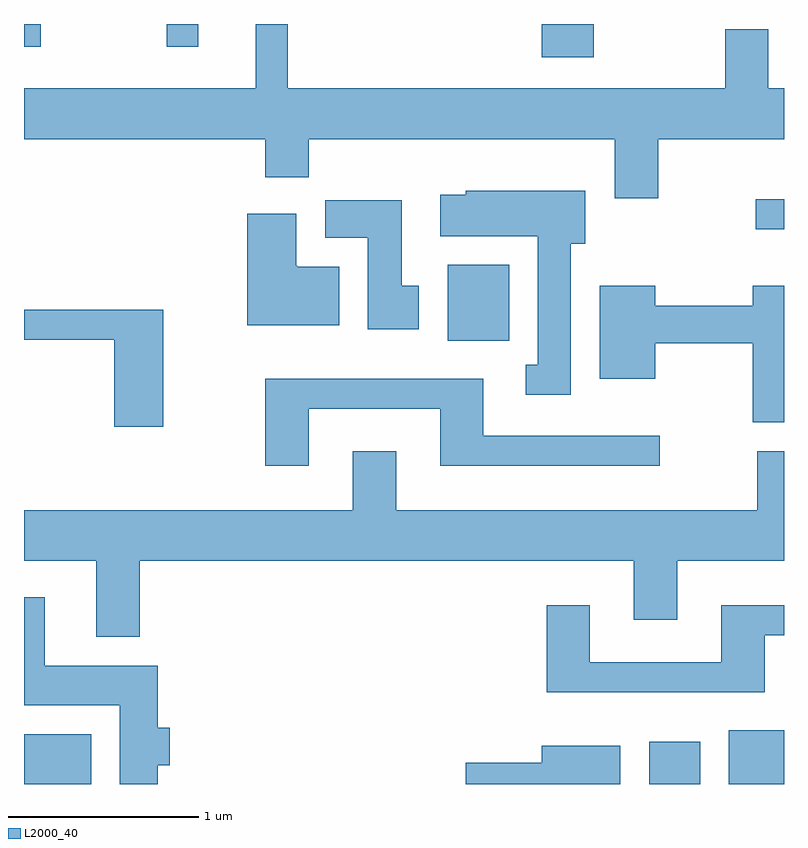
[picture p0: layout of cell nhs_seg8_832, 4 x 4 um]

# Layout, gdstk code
import gdstk
lib = gdstk.Library(unit=1e-6, precision=1e-09)
def R(c, l, rs):  # rectangles x0, y0, x1, y1
    for r in rs: c.add(gdstk.rectangle(r[:2], r[2:], *l))
def P(c, l, *ps):  # polygons
    for p in ps: c.add(gdstk.Polygon(p, *l))
L2000_40 = (2000, 40)

nhs_seg8_832 = lib.new_cell('nhs_seg8_832')
R(nhs_seg8_832, L2000_40, [(209.611,1846.342,209.964,1846.604), (212.901,1846.342,213.169,1846.564), (213.321,1846.342,213.611,1846.624), (211.841,1848.676,212.164,1849.074), (213.463,1849.261,213.611,1849.419), (212.336,1850.166,212.609,1850.342), (209.611,1850.223,209.699,1850.342), (210.361,1850.223,210.529,1850.342)])
P(nhs_seg8_832, L2000_40, [(212.949,1849.736),(213.611,1849.736),(213.611,1850.004),(213.529,1850.004),(213.529,1850.314),(213.301,1850.314),(213.301,1850.004),(210.999,1850.004),(210.999,1850.342),(210.831,1850.342),(210.831,1850.004),(209.611,1850.004),(209.611,1849.736),(210.881,1849.736),(210.881,1849.536),(211.109,1849.536),(211.109,1849.736),(212.721,1849.736),(212.721,1849.426),(212.949,1849.426)],
  [(212.489,1849.186),(212.564,1849.186),(212.564,1849.464),(211.936,1849.464),(211.936,1849.444),(211.801,1849.444),(211.801,1849.226),(212.316,1849.226),(212.316,1848.549),(212.253,1848.549),(212.253,1848.391),(212.489,1848.391)],
  [(211.689,1848.964),(211.599,1848.964),(211.599,1849.414),(211.196,1849.414),(211.196,1849.216),(211.421,1849.216),(211.421,1848.736),(211.689,1848.736)],
  [(211.269,1849.064),(211.05,1849.064),(211.05,1849.07),(211.044,1849.07),(211.044,1849.344),(210.786,1849.344),(210.786,1848.756),(211.269,1848.756)],
  [(213.611,1848.964),(213.446,1848.964),(213.446,1848.859),(212.934,1848.859),(212.934,1848.964),(212.641,1848.964),(212.641,1848.476),(212.934,1848.476),(212.934,1848.661),(213.446,1848.661),(213.446,1848.246),(213.611,1848.246)],
  [(210.344,1848.839),(209.611,1848.839),(209.611,1848.681),(210.086,1848.681),(210.086,1848.221),(210.344,1848.221)],
  [(211.109,1848.316),(211.801,1848.316),(211.801,1848.016),(212.958,1848.016),(212.958,1848.174),(212.029,1848.174),(212.029,1848.474),(210.881,1848.474),(210.881,1848.016),(211.109,1848.016)],
  [(210.219,1847.516),(212.821,1847.516),(212.821,1847.206),(213.049,1847.206),(213.049,1847.516),(213.611,1847.516),(213.611,1848.094),(213.471,1848.094),(213.471,1847.784),(211.569,1847.784),(211.569,1848.094),(211.341,1848.094),(211.341,1847.784),(209.611,1847.784),(209.611,1847.516),(209.991,1847.516),(209.991,1847.116),(210.219,1847.116)],
  [(210.314,1846.441),(210.379,1846.441),(210.379,1846.639),(210.314,1846.639),(210.314,1846.964),(209.719,1846.964),(209.719,1847.324),(209.611,1847.324),(209.611,1846.756),(210.116,1846.756),(210.116,1846.342),(210.314,1846.342)],
  [(213.509,1847.126),(213.611,1847.126),(213.611,1847.284),(213.281,1847.284),(213.281,1846.984),(212.589,1846.984),(212.589,1847.284),(212.361,1847.284),(212.361,1846.826),(213.509,1846.826)],
  [(212.749,1846.544),(212.336,1846.544),(212.336,1846.454),(211.936,1846.454),(211.936,1846.342),(212.749,1846.342)])

lib.write_gds('nhs_seg8_832.gds')
